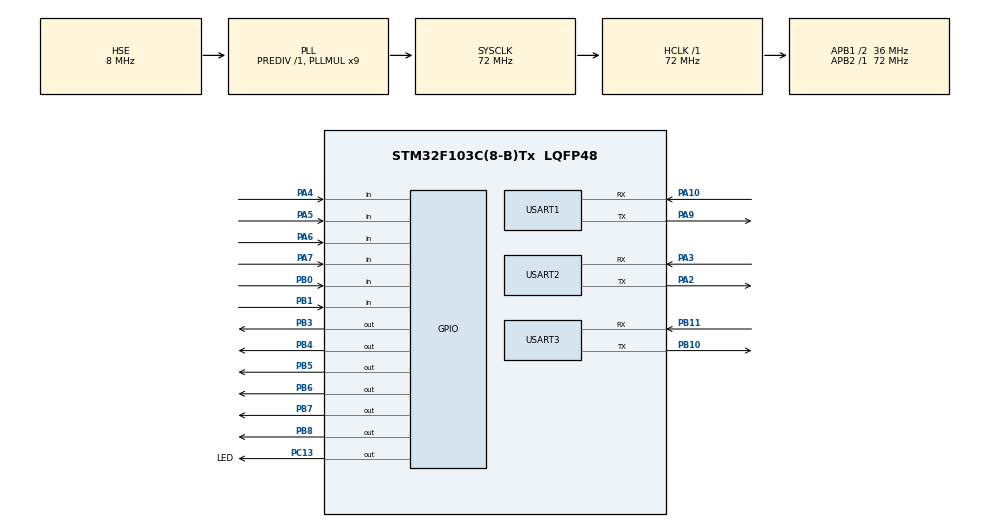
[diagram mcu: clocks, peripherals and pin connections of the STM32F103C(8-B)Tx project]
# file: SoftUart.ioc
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Mcu.Family=STM32F1
Mcu.Name=STM32F103C(8-B)Tx
Mcu.Package=LQFP48
NVIC.PriorityGroup=NVIC_PRIORITYGROUP_4
NVIC.TIM2_IRQn=true\:0\:0\:true\:false\:true\:true\:true
PA10.Mode=Asynchronous
PA10.Signal=USART1_RX
PA13.Mode=Serial_Wire
PA13.Signal=SYS_JTMS-SWDIO
PA14.Mode=Serial_Wire
PA14.Signal=SYS_JTCK-SWCLK
PA2.Mode=Asynchronous
PA2.Signal=USART2_TX
PA3.Mode=Asynchronous
PA3.Signal=USART2_RX
PA4.GPIO_PuPd=GPIO_PULLUP
PA4.Signal=GPIO_Input
PA5.GPIO_PuPd=GPIO_PULLUP
PA5.Signal=GPIO_Input
PA6.GPIO_PuPd=GPIO_PULLUP
PA6.Signal=GPIO_Input
PA7.GPIO_PuPd=GPIO_PULLUP
PA7.Signal=GPIO_Input
PA9.Mode=Asynchronous
PA9.Signal=USART1_TX
PB0.GPIO_PuPd=GPIO_PULLUP
PB0.Signal=GPIO_Input
PB1.GPIO_PuPd=GPIO_PULLUP
PB1.Signal=GPIO_Input
PB10.Mode=Asynchronous
PB10.Signal=USART3_TX
PB11.Mode=Asynchronous
PB11.Signal=USART3_RX
PB3.GPIO_Speed=GPIO_SPEED_FREQ_HIGH
PB3.PinState=GPIO_PIN_SET
PB3.Signal=GPIO_Output
PB4.GPIO_Speed=GPIO_SPEED_FREQ_HIGH
PB4.PinState=GPIO_PIN_SET
PB4.Signal=GPIO_Output
PB5.GPIO_Speed=GPIO_SPEED_FREQ_HIGH
PB5.PinState=GPIO_PIN_SET
PB5.Signal=GPIO_Output
PB6.GPIO_Speed=GPIO_SPEED_FREQ_HIGH
PB6.PinState=GPIO_PIN_SET
PB6.Signal=GPIO_Output
PB7.GPIO_Speed=GPIO_SPEED_FREQ_HIGH
PB7.PinState=GPIO_PIN_SET
PB7.Signal=GPIO_Output
PB8.GPIO_Speed=GPIO_SPEED_FREQ_HIGH
PB8.PinState=GPIO_PIN_SET
PB8.Signal=GPIO_Output
PC13-TAMPER-RTC.GPIO_Label=LED
PC13-TAMPER-RTC.Signal=GPIO_Output
PC14-OSC32_IN.Mode=LSE-External-Oscillator
PC14-OSC32_IN.Signal=RCC_OSC32_IN
PC15-OSC32_OUT.Mode=LSE-External-Oscillator
PC15-OSC32_OUT.Signal=RCC_OSC32_OUT
PD0-OSC_IN.Mode=HSE-External-Oscillator
PD0-OSC_IN.Signal=RCC_OSC_IN
PD1-OSC_OUT.Mode=HSE-External-Oscillator
PD1-OSC_OUT.Signal=RCC_OSC_OUT
ProjectManager.HeapSize=0x200
ProjectManager.StackSize=0x400
ProjectManager.TargetToolchain=MDK-ARM V5.27
RCC.AHBFreq_Value=72000000
RCC.APB1CLKDivider=RCC_HCLK_DIV2
RCC.APB1Freq_Value=36000000
RCC.APB1TimFreq_Value=72000000
RCC.APB2Freq_Value=72000000
RCC.APB2TimFreq_Value=72000000
RCC.HCLKFreq_Value=72000000
RCC.PLLMUL=RCC_PLL_MUL9
RCC.PLLSourceVirtual=RCC_PLLSOURCE_HSE
RCC.SYSCLKFreq_VALUE=72000000
RCC.SYSCLKSource=RCC_SYSCLKSOURCE_PLLCLK
RCC.USBFreq_Value=72000000
TIM2.AutoReloadPreload=TIM_AUTORELOAD_PRELOAD_ENABLE
TIM2.Period=19
TIM2.Prescaler=74
USART1.VirtualMode=VM_ASYNC
USART2.VirtualMode=VM_ASYNC
USART3.VirtualMode=VM_ASYNC
VP_TIM2_VS_ClockSourceINT.Mode=Internal
board=custom

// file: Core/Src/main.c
/* USER CODE BEGIN Header */
/**
  ******************************************************************************
  * @file           : main.c
  * @brief          : Main program body
  ******************************************************************************
  * @attention
  *
  * <h2><center>&copy; Copyright (c) 2020 STMicroelectronics.
  * All rights reserved.</center></h2>
  *
  * This software component is licensed by ST under BSD 3-Clause license,
  * the "License"; You may not use this file except in compliance with the
  * License. You may obtain a copy of the License at:
  *                        opensource.org/licenses/BSD-3-Clause
  *
  ******************************************************************************
  */
/* USER CODE END Header */
#include "main.h"

/* USER CODE BEGIN Includes */
#include "softuart.h"
/* USER CODE END Includes */

/* USER CODE BEGIN PD */

void HAL_TIM_PeriodElapsedCallback(TIM_HandleTypeDef *htim)
{
	if(htim->Instance==TIM2)
	{
		SoftUartHandler();
	}
}

/* USER CODE END PD */

TIM_HandleTypeDef htim2;

UART_HandleTypeDef huart1;
UART_HandleTypeDef huart2;
UART_HandleTypeDef huart3;

void SystemClock_Config(void);
static void MX_GPIO_Init(void);
static void MX_TIM2_Init(void);
static void MX_USART1_UART_Init(void);
static void MX_USART2_UART_Init(void);
static void MX_USART3_UART_Init(void);

/* USER CODE BEGIN 0 */

uint8_t TempBuffer[32];
//

/* USER CODE END 0 */

int main(void)
{
  /* USER CODE BEGIN 1 */
	uint8_t Len;
  /* USER CODE END 1 */

  /* MCU Configuration--------------------------------------------------------*/

  /* Reset of all peripherals, Initializes the Flash interface and the Systick. */
  HAL_Init();

  /* Configure the system clock */
  SystemClock_Config();

  /* Initialize all configured peripherals */
  MX_GPIO_Init();
  MX_TIM2_Init();
  MX_USART1_UART_Init();
  MX_USART2_UART_Init();
  MX_USART3_UART_Init();
  /* USER CODE BEGIN 2 */

	SoftUartInit(0,GPIOB,GPIO_PIN_3,GPIOA,GPIO_PIN_4);
	SoftUartInit(1,GPIOB,GPIO_PIN_4,GPIOA,GPIO_PIN_5);
	SoftUartInit(2,GPIOB,GPIO_PIN_5,GPIOA,GPIO_PIN_6);
	SoftUartInit(3,GPIOB,GPIO_PIN_6,GPIOA,GPIO_PIN_7);
	SoftUartInit(4,GPIOB,GPIO_PIN_7,GPIOB,GPIO_PIN_0);
	SoftUartInit(5,GPIOB,GPIO_PIN_8,GPIOB,GPIO_PIN_1);

	SoftUartEnableRx(0);
	SoftUartEnableRx(1);
	SoftUartEnableRx(2);
	SoftUartEnableRx(3);
	SoftUartEnableRx(4);
	SoftUartEnableRx(5);

	HAL_TIM_Base_Start_IT(&htim2);

	HAL_Delay(10);

  /* USER CODE END 2 */

  /* Infinite loop */
  /* USER CODE BEGIN WHILE */
  while (1)
  {
		if(SoftUartRxAlavailable(0))
		{
			HAL_Delay(100);
			Len=SoftUartRxAlavailable(0);

			SoftUartReadRxBuffer(0,TempBuffer,Len);
			SoftUartPuts(0,(uint8_t *)TempBuffer,Len);
			SoftUartWaitUntilTxComplate(0);

			HAL_GPIO_TogglePin(LED_GPIO_Port,LED_Pin);
		}

    /* USER CODE END WHILE */

  }
}

void SystemClock_Config(void)
{
  RCC_OscInitTypeDef RCC_OscInitStruct = {0};
  RCC_ClkInitTypeDef RCC_ClkInitStruct = {0};

  /** Initializes the RCC Oscillators according to the specified parameters
  * in the RCC_OscInitTypeDef structure.
  */
  RCC_OscInitStruct.OscillatorType = RCC_OSCILLATORTYPE_HSE;
  RCC_OscInitStruct.HSEState = RCC_HSE_ON;
  RCC_OscInitStruct.HSEPredivValue = RCC_HSE_PREDIV_DIV1;
  RCC_OscInitStruct.HSIState = RCC_HSI_ON;
  RCC_OscInitStruct.PLL.PLLState = RCC_PLL_ON;
  RCC_OscInitStruct.PLL.PLLSource = RCC_PLLSOURCE_HSE;
  RCC_OscInitStruct.PLL.PLLMUL = RCC_PLL_MUL9;
  if (HAL_RCC_OscConfig(&RCC_OscInitStruct) != HAL_OK)
  {
    Error_Handler();
  }
  /** Initializes the CPU, AHB and APB buses clocks
  */
  RCC_ClkInitStruct.ClockType = RCC_CLOCKTYPE_HCLK|RCC_CLOCKTYPE_SYSCLK
                              |RCC_CLOCKTYPE_PCLK1|RCC_CLOCKTYPE_PCLK2;
  RCC_ClkInitStruct.SYSCLKSource = RCC_SYSCLKSOURCE_PLLCLK;
  RCC_ClkInitStruct.AHBCLKDivider = RCC_SYSCLK_DIV1;
  RCC_ClkInitStruct.APB1CLKDivider = RCC_HCLK_DIV2;
  RCC_ClkInitStruct.APB2CLKDivider = RCC_HCLK_DIV1;

  if (HAL_RCC_ClockConfig(&RCC_ClkInitStruct, FLASH_LATENCY_2) != HAL_OK)
  {
    Error_Handler();
  }
}

static void MX_TIM2_Init(void)
{

  TIM_ClockConfigTypeDef sClockSourceConfig = {0};
  TIM_MasterConfigTypeDef sMasterConfig = {0};

  htim2.Instance = TIM2;
  htim2.Init.Prescaler = 74;
  htim2.Init.CounterMode = TIM_COUNTERMODE_UP;
  htim2.Init.Period = 19;
  htim2.Init.ClockDivision = TIM_CLOCKDIVISION_DIV1;
  htim2.Init.AutoReloadPreload = TIM_AUTORELOAD_PRELOAD_ENABLE;
  if (HAL_TIM_Base_Init(&htim2) != HAL_OK)
  {
    Error_Handler();
  }
  sClockSourceConfig.ClockSource = TIM_CLOCKSOURCE_INTERNAL;
  if (HAL_TIM_ConfigClockSource(&htim2, &sClockSourceConfig) != HAL_OK)
  {
    Error_Handler();
  }
  sMasterConfig.MasterOutputTrigger = TIM_TRGO_RESET;
  sMasterConfig.MasterSlaveMode = TIM_MASTERSLAVEMODE_DISABLE;
  if (HAL_TIMEx_MasterConfigSynchronization(&htim2, &sMasterConfig) != HAL_OK)
  {
    Error_Handler();
  }

}

static void MX_USART1_UART_Init(void)
{

  huart1.Instance = USART1;
  huart1.Init.BaudRate = 115200;
  huart1.Init.WordLength = UART_WORDLENGTH_8B;
  huart1.Init.StopBits = UART_STOPBITS_1;
  huart1.Init.Parity = UART_PARITY_NONE;
  huart1.Init.Mode = UART_MODE_TX_RX;
  huart1.Init.HwFlowCtl = UART_HWCONTROL_NONE;
  huart1.Init.OverSampling = UART_OVERSAMPLING_16;
  if (HAL_UART_Init(&huart1) != HAL_OK)
  {
    Error_Handler();
  }

}

static void MX_USART2_UART_Init(void)
{

  huart2.Instance = USART2;
  huart2.Init.BaudRate = 115200;
  huart2.Init.WordLength = UART_WORDLENGTH_8B;
  huart2.Init.StopBits = UART_STOPBITS_1;
  huart2.Init.Parity = UART_PARITY_NONE;
  huart2.Init.Mode = UART_MODE_TX_RX;
  huart2.Init.HwFlowCtl = UART_HWCONTROL_NONE;
  huart2.Init.OverSampling = UART_OVERSAMPLING_16;
  if (HAL_UART_Init(&huart2) != HAL_OK)
  {
    Error_Handler();
  }

}

static void MX_USART3_UART_Init(void)
{

  huart3.Instance = USART3;
  huart3.Init.BaudRate = 115200;
  huart3.Init.WordLength = UART_WORDLENGTH_8B;
  huart3.Init.StopBits = UART_STOPBITS_1;
  huart3.Init.Parity = UART_PARITY_NONE;
  huart3.Init.Mode = UART_MODE_TX_RX;
  huart3.Init.HwFlowCtl = UART_HWCONTROL_NONE;
  huart3.Init.OverSampling = UART_OVERSAMPLING_16;
  if (HAL_UART_Init(&huart3) != HAL_OK)
  {
    Error_Handler();
  }

}

static void MX_GPIO_Init(void)
{
  GPIO_InitTypeDef GPIO_InitStruct = {0};

  /* GPIO Ports Clock Enable */
  __HAL_RCC_GPIOC_CLK_ENABLE();
  __HAL_RCC_GPIOD_CLK_ENABLE();
  __HAL_RCC_GPIOA_CLK_ENABLE();
  __HAL_RCC_GPIOB_CLK_ENABLE();

  /*Configure GPIO pin Output Level */
  HAL_GPIO_WritePin(LED_GPIO_Port, LED_Pin, GPIO_PIN_RESET);

  /*Configure GPIO pin Output Level */
  HAL_GPIO_WritePin(GPIOB, GPIO_PIN_3|GPIO_PIN_4|GPIO_PIN_5|GPIO_PIN_6
                          |GPIO_PIN_7|GPIO_PIN_8, GPIO_PIN_SET);

  /*Configure GPIO pin : LED_Pin */
  GPIO_InitStruct.Pin = LED_Pin;
  GPIO_InitStruct.Mode = GPIO_MODE_OUTPUT_PP;
  GPIO_InitStruct.Pull = GPIO_NOPULL;
  GPIO_InitStruct.Speed = GPIO_SPEED_FREQ_LOW;
  HAL_GPIO_Init(LED_GPIO_Port, &GPIO_InitStruct);

  /*Configure GPIO pins : PA4 PA5 PA6 PA7 */
  GPIO_InitStruct.Pin = GPIO_PIN_4|GPIO_PIN_5|GPIO_PIN_6|GPIO_PIN_7;
  GPIO_InitStruct.Mode = GPIO_MODE_INPUT;
  GPIO_InitStruct.Pull = GPIO_PULLUP;
  HAL_GPIO_Init(GPIOA, &GPIO_InitStruct);

  /*Configure GPIO pins : PB0 PB1 */
  GPIO_InitStruct.Pin = GPIO_PIN_0|GPIO_PIN_1;
  GPIO_InitStruct.Mode = GPIO_MODE_INPUT;
  GPIO_InitStruct.Pull = GPIO_PULLUP;
  HAL_GPIO_Init(GPIOB, &GPIO_InitStruct);

  /*Configure GPIO pins : PB3 PB4 PB5 PB6
                           PB7 PB8 */
  GPIO_InitStruct.Pin = GPIO_PIN_3|GPIO_PIN_4|GPIO_PIN_5|GPIO_PIN_6
                          |GPIO_PIN_7|GPIO_PIN_8;
  GPIO_InitStruct.Mode = GPIO_MODE_OUTPUT_PP;
  GPIO_InitStruct.Pull = GPIO_NOPULL;
  GPIO_InitStruct.Speed = GPIO_SPEED_FREQ_HIGH;
  HAL_GPIO_Init(GPIOB, &GPIO_InitStruct);

}

void Error_Handler(void)
{
}

/************************ (C) COPYRIGHT STMicroelectronics *****END OF FILE****/
